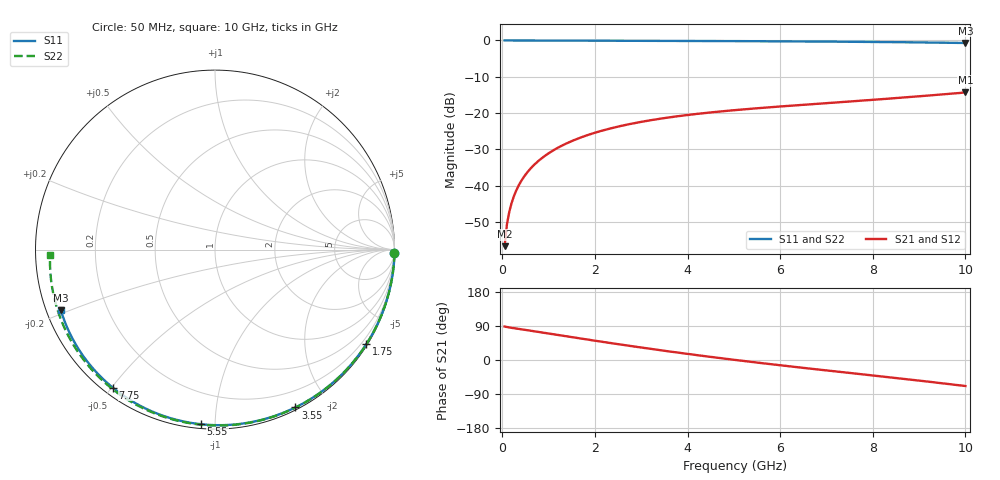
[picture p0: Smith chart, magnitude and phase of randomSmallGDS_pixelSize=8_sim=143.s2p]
! freq	dB(S11)	phase(S11)	dB(S12)	phase(S12)
!  dB(S21)	phase(S21)	dB(S22)	phase(S22)
!S-par simulation data
#  GHz  S  DB  R 50
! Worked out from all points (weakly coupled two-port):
!   200 points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, 50 MHz to 10 GHz, reference 50 ohm
!   highest |S21| = -14.32 dB at 10 GHz (marker M1); lowest = -56.6 dB at 50 MHz (marker M2)
!   lowest |S11| = -0.7 dB at 10 GHz (marker M3), VSWR 24.98, Z = 2.07 - j9.48 ohm
!   |S11| at or under -10 dB: nowhere
!   |S22| runs from -0.7 to 0.0 dB; largest |S21 - S12| = 0
!   S11 on the Smith chart (normalised r, x): 50 MHz: open; 1.75 GHz: 0.04, -3.49; 3.55 GHz: 0.02, -1.63; 5.55 GHz: 0.02, -0.92; 7.75 GHz: 0.03, -0.50; 10 GHz: 0.04, -0.19
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0.05  -0.00 -0.9  -56.64 88.3  -56.64 88.3  -0.00 -1.1
0.1  -0.00 -1.9  -50.69 86.9  -50.69 86.9  -0.00 -2.1
0.15  -0.00 -2.8  -47.24 85.8  -47.24 85.8  -0.00 -3.2
0.2  -0.00 -3.7  -44.79 84.9  -44.79 84.9  -0.00 -4.3
0.25  -0.00 -4.7  -42.89 84.0  -42.89 84.0  -0.00 -5.3
0.35  -0.01 -6.5  -40.02 82.1  -40.02 82.1  -0.01 -7.4
0.5  -0.01 -9.3  -36.97 79.4  -36.97 79.4  -0.01 -10.6
0.7  -0.02 -13.0  -34.09 75.6  -34.09 75.6  -0.02 -14.8
1  -0.03 -18.5  -31.07 69.9  -31.07 69.9  -0.03 -21.1
1.35  -0.04 -24.8  -28.57 63.2  -28.57 63.2  -0.04 -28.3
1.75  -0.05 -32.0  -26.46 55.6  -26.46 55.6  -0.06 -36.4
2.6  -0.08 -47.0  -23.43 40.0  -23.43 40.0  -0.09 -53.3
3.4  -0.11 -60.5  -21.56 26.0  -21.56 26.0  -0.12 -68.5
3.55  -0.11 -63.0  -21.28 23.5  -21.28 23.5  -0.13 -71.3
4.3  -0.15 -75.2  -20.09 11.3  -20.09 11.3  -0.16 -84.9
5.05  -0.18 -87.0  -19.15 -0.2  -19.15 -0.2  -0.20 -97.9
5.55  -0.21 -94.6  -18.62 -7.5  -18.62 -7.5  -0.23 -106.3
6.7  -0.29 -111.5  -17.54 -23.5  -17.54 -23.5  -0.31 -125.0
7.75  -0.38 -126.5  -16.58 -37.5  -16.58 -37.5  -0.41 -141.7
8.35  -0.45 -135.0  -16.02 -45.5  -16.02 -45.5  -0.48 -151.1
9.2  -0.56 -147.0  -15.17 -57.1  -15.17 -57.1  -0.59 -164.8
10  -0.70 -158.5  -14.32 -68.7  -14.32 -68.7  -0.73 -178.0
